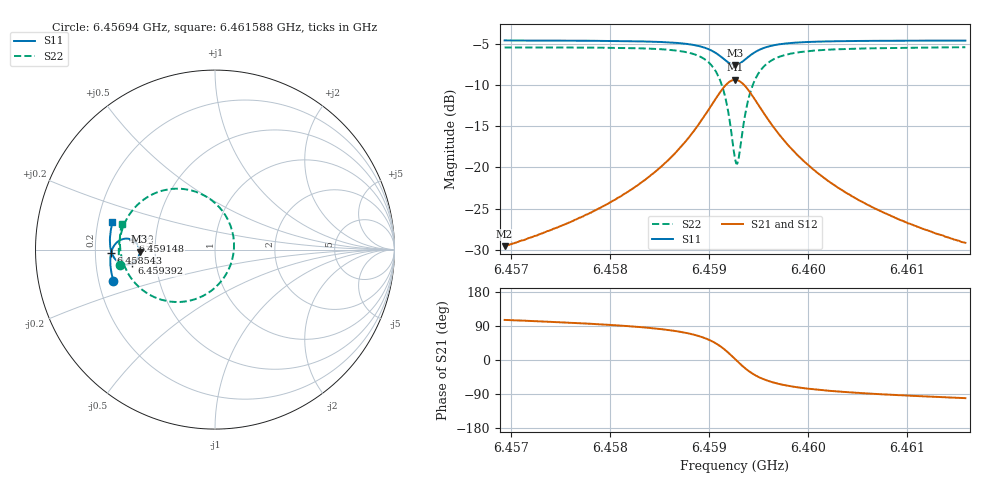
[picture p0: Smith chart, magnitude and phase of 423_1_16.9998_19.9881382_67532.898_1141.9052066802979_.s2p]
#  HZ  S  RI  R  50.00
! Rohde & Schwarz Vector Network Analyzer
! Rohde-Schwarz,ZNB20-2Port,1311601062101988,3.16
! Created: UTC 3/20/2024, 11:11:02 PM
! freq[Hz]  re:S11  im:S11  re:S21  im:S21  re:S12  im:S12  re:S22  im:S22
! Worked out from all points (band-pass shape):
!   401 points, 6.45694 GHz to 6.461588 GHz, reference 50 ohm
!   highest |S21| = -9.33 dB at 6.459264 GHz (marker M1); lowest = -29.6 dB at 6.45694 GHz (marker M2)
!   |S21| within 3 dB of the highest: 6.459032 GHz to 6.459497 GHz (464.7 kHz wide, 0.0072 % of centre)
!   lowest |S11| = -7.5 dB at 6.459264 GHz (marker M3), VSWR 2.45, Z = 20.4 - j0.535 ohm
!   |S11| at or under -10 dB: nowhere
!   |S22| runs from -19.5 to -5.4 dB; largest |S21 - S12| = 0.013
!   S11 on the Smith chart (normalised r, x): 6.45694 GHz: 0.26, -0.14; 6.458543 GHz: 0.27, -0.01; 6.459148 GHz: 0.37, +0.05; 6.459392 GHz: 0.37, -0.07; 6.461588 GHz: 0.26, +0.12
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6.4569397e9  -0.5658 -0.175  -0.00902 0.032  -0.00733 0.032  -0.5298 -0.088
6.4577183e9  -0.5803 -0.1072  -0.00577 0.0498  -0.00339 0.0492  -0.5361 0.00207
6.4581366e9  -0.5834 -0.0655  -0.000178 0.0684  0.00292 0.0671  -0.5288 0.0672
6.4584968e9  -0.5797 -0.0229  0.0135 0.0976  0.0175 0.0949  -0.5038 0.1468
6.4585433e9  -0.5784 -0.0167  0.0169 0.1029  0.0209 0.1001  -0.4976 0.1599
6.4587641e9  -0.5653 0.0169  0.0448 0.1365  0.0489 0.1316  -0.4454 0.2357
6.4589152e9  -0.543 0.0434  0.0894 0.1669  0.0927 0.1602  -0.3633 0.3002
6.4590546e9  -0.4998 0.0611  0.1754 0.1836  0.1765 0.1761  -0.2063 0.3395
6.4591476e9  -0.4557 0.0513  0.2644 0.1532  0.2645 0.1473  -0.0418 0.2909
6.459194e9  -0.4347 0.0327  0.3077 0.1111  0.3088 0.1057  0.0405 0.2162
6.4592638e9  -0.42 -0.0108  0.341 0.0155  0.3446 0.0087  0.1057 0.0392
6.4592754e9  -0.4204 -0.0188  0.3409 -0.00201  0.3446 -0.00951  0.1056 0.00623
6.4592986e9  -0.4238 -0.0342  0.3356 -0.0364  0.3393 -0.0453  0.095 -0.0588
6.4593451e9  -0.4392 -0.06  0.3078 -0.0957  0.3099 -0.1073  0.039 -0.1708
6.4593916e9  -0.4609 -0.0759  0.2663 -0.1365  0.2656 -0.1495  -0.0443 -0.2454
6.4594845e9  -0.5036 -0.0828  0.1826 -0.1677  0.1767 -0.179  -0.2107 -0.292
6.4596356e9  -0.5472 -0.0624  0.0957 -0.1546  0.0874 -0.1605  -0.3766 -0.2442
6.4597983e9  -0.5685 -0.0348  0.0512 -0.1269  0.0437 -0.1299  -0.4566 -0.1733
6.4600423e9  -0.5812 0.00076  0.0223 -0.0958  0.0166 -0.0966  -0.5043 -0.0917
6.4603793e9  -0.5856 0.0406  0.00661 -0.0702  0.00269 -0.0697  -0.5254 -0.0153
6.4608209e9  -0.5836 0.0849  -0.00141 -0.0514  -0.00419 -0.0505  -0.5301 0.0548
6.4615878e9  -0.5711 0.1526  -0.00643 -0.0342  -0.00802 -0.0333  -0.5189 0.1445
